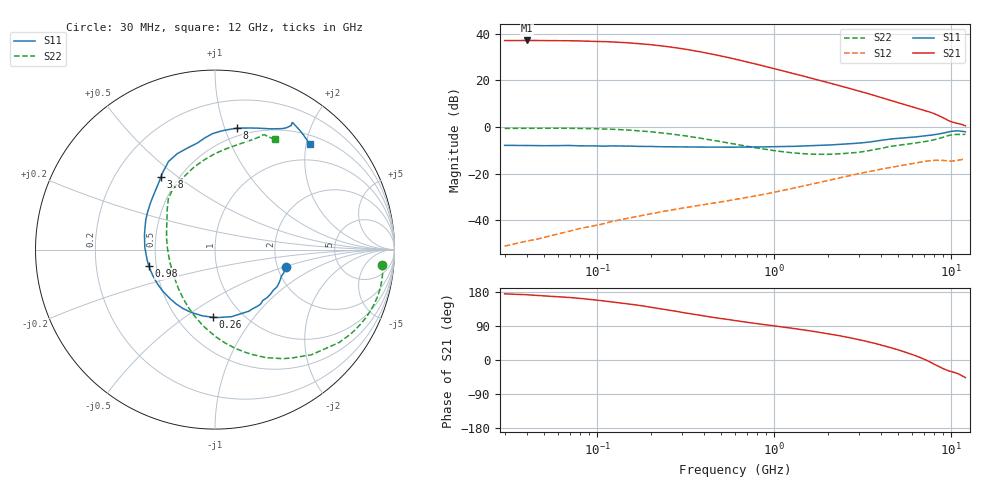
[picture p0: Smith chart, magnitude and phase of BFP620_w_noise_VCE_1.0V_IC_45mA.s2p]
! Infineon Technologies  Discrete & RF Semiconductors
! BFP620
! VCE =  1.0 V,  IC =  45 mA
! Common Emitter S-Parameters:  Nov 2015
# GHz  S  MA  R  50
!  f  S11  S21  S12  S22
! GHz  MAG  ANG  MAG  ANG  MAG  ANG  MAG  ANG
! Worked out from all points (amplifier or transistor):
!   239 points, 30 MHz to 12 GHz, reference 50 ohm
!   highest |S21| = 37.1 dB at 40 MHz (marker M1)
!   |S21| within 3 dB of that: start of sweep to 270.3 MHz
!   unconditionally stable (mu >= 1): 2.032 GHz to end of sweep
!   at 300 MHz: K = 0.46, MSG = 34.2 dB, |S12| = -34.8 dB
!   at 1.88 GHz: K = 0.99, MSG = 21.5 dB, |S12| = -23.4 dB
!   at 12 GHz: K = 1.08, MAG = 5.5 dB, |S12| = -13.9 dB
!   lowest NFmin = 1.42 dB at 450 MHz
!   S11 on the Smith chart (normalised r, x): 30 MHz: 2.21, -0.52; 260 MHz: 0.74, -0.65; 980 MHz: 0.46, -0.10; 3.8 GHz: 0.40, +0.44; 8 GHz: 0.43, +1.10; 12 GHz: 0.66, +2.07
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0.03  0.4059 -14.1  71.59 174.5  0.0028 95.4  0.937 -5.2
0.04  0.4043 -18.7  71.93 172.2  0.0036 90.6  0.9434 -8.0
0.07  0.4032 -31.1  71.12 165.0  0.0059 83.7  0.9421 -16.5
0.085  0.3961 -36.8  69.91 161.4  0.007 80.8  0.9329 -20.6
0.115  0.3923 -48.6  67.58 154.7  0.009 76.3  0.9053 -28.4
0.135  0.3919 -55.6  65.55 150.7  0.0103 74.2  0.8822 -33.3
0.165  0.3869 -65.5  62.19 145.4  0.012 71.5  0.8398 -39.9
0.2  0.3849 -76.1  58.5 139.2  0.0138 68.6  0.7948 -47.5
0.24  0.3788 -86.7  54.05 133.5  0.0157 66.2  0.7393 -54.8
0.26  0.3775 -91.7  51.98 130.8  0.0166 65.3  0.714 -58.3
0.32  0.374 -104.6  46.21 123.8  0.019 63.3  0.6421 -67.5
0.4  0.3734 -118.3  39.72 116.3  0.0217 61.6  0.5623 -78.3
0.5  0.371 -131.5  33.38 109.3  0.0249 60.5  0.4863 -89.4
0.6  0.372 -141.6  28.64 103.9  0.028 60.2  0.4306 -98.8
0.8  0.3756 -156.4  22.05 95.8  0.034 60.0  0.3557 -114.4
0.98  0.3797 -165.9  18.23 90.6  0.0396 59.7  0.3158 -126.0
1.64  0.3983 170.7  11.03 76.0  0.0602 56.0  0.2624 -158.7
2.4  0.4282 152.0  7.481 62.9  0.0833 49.2  0.2683 174.2
3.8  0.5041 126.6  4.588 42.5  0.1205 34.0  0.3365 142.4
4.5  0.5548 117.9  3.775 32.9  0.136 26.8  0.3849 132.5
8  0.6879 79.7  1.941 -11.1  0.1942 -11.0  0.5355 89.8
12  0.7905 48.0  1.063 -46.5  0.2009 -42.8  0.7001 61.4
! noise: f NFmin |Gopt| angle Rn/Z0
0.45  1.42  0.26  -165  0.1
0.9  1.43  0.29  -153  0.1
1.9  1.44  0.33  -138  0.12
2.4  1.45  0.33  -136  0.13
3.5  1.5  0.39  -104  0.21
5.5  1.79  0.41  -85  0.29
10  2.1  0.65  -43  1.14
